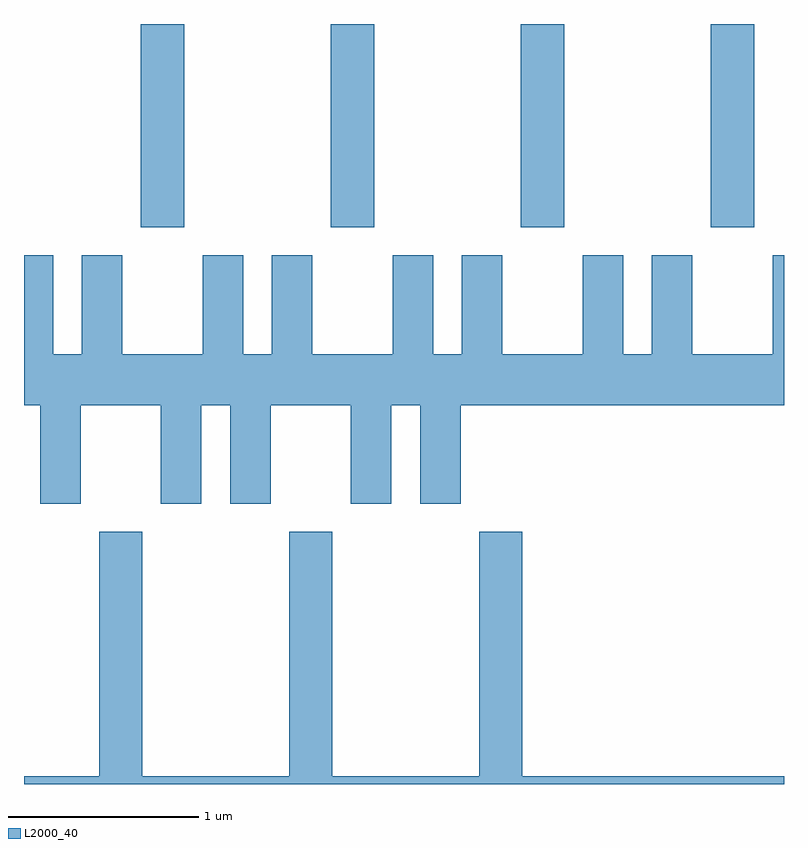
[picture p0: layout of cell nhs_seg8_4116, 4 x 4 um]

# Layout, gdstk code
import gdstk
lib = gdstk.Library(unit=1e-6, precision=1e-09)
def R(c, l, rs):  # rectangles x0, y0, x1, y1
    for r in rs: c.add(gdstk.rectangle(r[:2], r[2:], *l))
def A(c, l, x, y, w, h, nx, ny, dx, dy):  # array of equal rectangles
    R(c, l, [(x+i*dx, y+j*dy, x+i*dx+w, y+j*dy+h) for i in range(nx) for j in range(ny)])
def P(c, l, *ps):  # polygons
    for p in ps: c.add(gdstk.Polygon(p, *l))
L2000_40 = (2000, 40)

nhs_seg8_4116 = lib.new_cell('nhs_seg8_4116')
A(nhs_seg8_4116, L2000_40, 308.226, 1917.271, 0.228, 1.071, 4, 1, 1, 0)
P(nhs_seg8_4116, L2000_40, [(307.909,1916.336),(308.331,1916.336),(308.331,1915.816),(308.544,1915.816),(308.544,1916.336),(308.696,1916.336),(308.696,1915.816),(308.909,1915.816),(308.909,1916.336),(309.331,1916.336),(309.331,1915.816),(309.544,1915.816),(309.544,1916.336),(309.696,1916.336),(309.696,1915.816),(309.909,1915.816),(309.909,1916.336),(311.611,1916.336),(311.611,1917.124),(311.551,1917.124),(311.551,1916.604),(311.129,1916.604),(311.129,1917.124),(310.916,1917.124),(310.916,1916.604),(310.764,1916.604),(310.764,1917.124),(310.551,1917.124),(310.551,1916.604),(310.129,1916.604),(310.129,1917.124),(309.916,1917.124),(309.916,1916.604),(309.764,1916.604),(309.764,1917.124),(309.551,1917.124),(309.551,1916.604),(309.129,1916.604),(309.129,1917.124),(308.916,1917.124),(308.916,1916.604),(308.764,1916.604),(308.764,1917.124),(308.551,1917.124),(308.551,1916.604),(308.129,1916.604),(308.129,1917.124),(307.916,1917.124),(307.916,1916.604),(307.764,1916.604),(307.764,1917.124),(307.611,1917.124),(307.611,1916.336),(307.696,1916.336),(307.696,1915.816),(307.909,1915.816)],
  [(311.611,1914.384),(310.234,1914.384),(310.234,1915.669),(310.006,1915.669),(310.006,1914.384),(309.234,1914.384),(309.234,1915.669),(309.006,1915.669),(309.006,1914.384),(308.234,1914.384),(308.234,1915.669),(308.006,1915.669),(308.006,1914.384),(307.611,1914.384),(307.611,1914.342),(311.611,1914.342)])

lib.write_gds('nhs_seg8_4116.gds')
